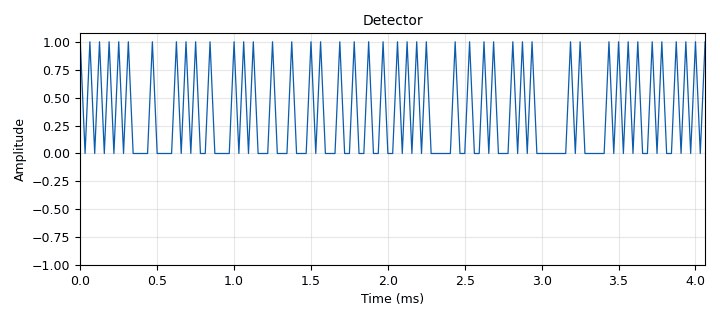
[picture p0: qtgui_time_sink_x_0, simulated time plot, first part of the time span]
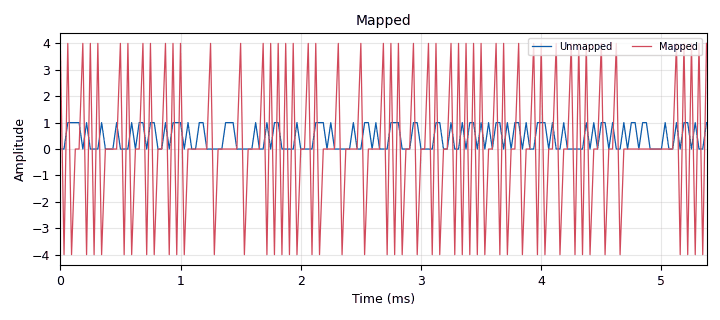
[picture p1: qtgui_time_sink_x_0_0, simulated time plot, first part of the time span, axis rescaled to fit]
options:
  parameters:
    generate_options: qt_gui
    id: binary_antipodal_signal_detection
    output_language: python
    title: 'Midterm '
  states: {}

blocks:
- name: samp_rate
  id: variable
  parameters:
    value: '32000'
  states: {}
- name: analog_noise_source_x_0
  id: analog_noise_source_x
  parameters:
    amp: '1'
    noise_type: analog.GR_GAUSSIAN
    seed: '0'
    type: float
  states: {}
- name: analog_random_uniform_source_x_0
  id: analog_random_uniform_source_x
  parameters:
    maximum: '2'
    minimum: '0'
    seed: '0'
    type: byte
  states: {}
- name: blocks_add_xx_0
  id: blocks_add_xx
  parameters:
    type: float
  states: {}
- name: blocks_float_to_uchar_0
  id: blocks_float_to_uchar
  parameters: {}
  states: {}
- name: blocks_peak_detector_xb_0
  id: blocks_peak_detector_xb
  parameters:
    alpha: '0.001'
    look_ahead: '10'
    threshold_factor_fall: '0.40'
    threshold_factor_rise: '0.25'
    type: float
  states: {}
- name: blocks_uchar_to_float_0
  id: blocks_uchar_to_float
  parameters: {}
  states: {}
- name: blocks_uchar_to_float_0_0
  id: blocks_uchar_to_float
  parameters: {}
  states: {}
- name: blocks_xor_xx_0
  id: blocks_xor_xx
  parameters:
    type: byte
  states: {}
- name: digital_chunks_to_symbols_xx_0
  id: digital_chunks_to_symbols_xx
  parameters:
    dimension: '2'
    in_type: byte
    out_type: float
    symbol_table: (4,-4)
  states: {}
- name: qtgui_number_sink_0
  id: qtgui_number_sink
  parameters:
    graph_type: qtgui.NUM_GRAPH_HORIZ
    type: byte
  states: {}
- name: qtgui_time_sink_x_0
  id: qtgui_time_sink_x
  parameters:
    ctrlpanel: 'True'
    name: '"Detector"'
    size: '1024'
    srate: samp_rate
    type: float
  states: {}
- name: qtgui_time_sink_x_0_0
  id: qtgui_time_sink_x
  parameters:
    ctrlpanel: 'True'
    grid: 'True'
    label1: Unmapped
    label2: Mapped
    name: '"Mapped"'
    nconnections: '2'
    size: '1024'
    srate: samp_rate
    type: float
  states: {}

connections:
- [analog_noise_source_x_0, '0', blocks_add_xx_0, '1']
- [analog_random_uniform_source_x_0, '0', blocks_uchar_to_float_0, '0']
- [analog_random_uniform_source_x_0, '0', digital_chunks_to_symbols_xx_0, '0']
- [blocks_add_xx_0, '0', blocks_peak_detector_xb_0, '0']
- [blocks_float_to_uchar_0, '0', blocks_xor_xx_0, '0']
- [blocks_peak_detector_xb_0, '0', blocks_uchar_to_float_0_0, '0']
- [blocks_peak_detector_xb_0, '0', blocks_xor_xx_0, '1']
- [blocks_uchar_to_float_0, '0', qtgui_time_sink_x_0_0, '0']
- [blocks_uchar_to_float_0_0, '0', qtgui_time_sink_x_0, '0']
- [blocks_xor_xx_0, '0', qtgui_number_sink_0, '0']
- [digital_chunks_to_symbols_xx_0, '0', blocks_add_xx_0, '0']
- [digital_chunks_to_symbols_xx_0, '0', blocks_float_to_uchar_0, '0']
- [digital_chunks_to_symbols_xx_0, '0', qtgui_time_sink_x_0_0, '1']

metadata:
  file_format: 1
  grc_version: 3.10.9.2
